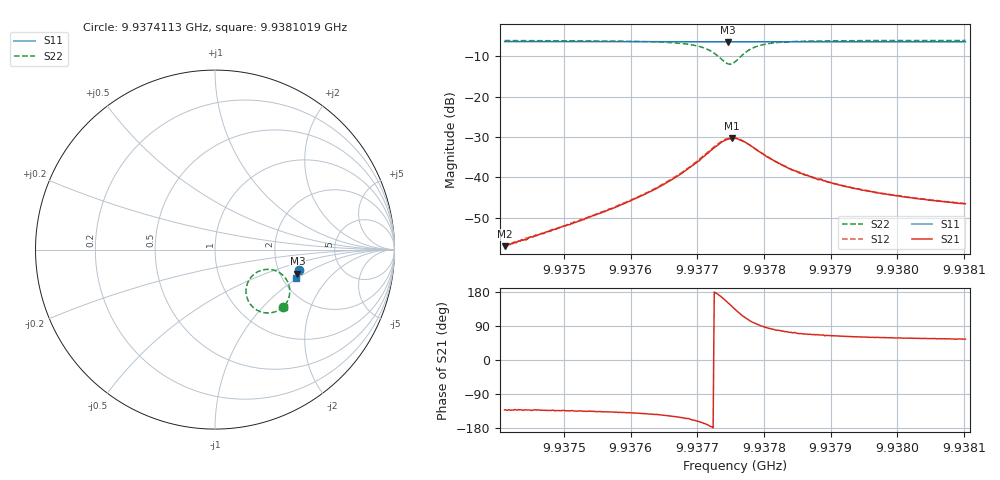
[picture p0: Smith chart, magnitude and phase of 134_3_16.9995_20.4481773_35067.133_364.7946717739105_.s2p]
#  HZ  S  RI  R  50.00
! Rohde & Schwarz Vector Network Analyzer
! Rohde-Schwarz,ZNB20-2Port,1311601062101988,3.16
! Created: UTC 3/20/2024, 10:58:05 PM
! freq[Hz]  re:S11  im:S11  re:S21  im:S21  re:S12  im:S12  re:S22  im:S22
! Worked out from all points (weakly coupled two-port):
!   401 points, 9.9374113 GHz to 9.9381019 GHz, reference 50 ohm
!   highest |S21| = -30.32 dB at 9.9377514 GHz (marker M1); lowest = -57.1 dB at 9.9374113 GHz (marker M2)
!   lowest |S11| = -6.4 dB at 9.9377462 GHz (marker M3), VSWR 2.83, Z = 124 - j43.3 ohm
!   |S11| at or under -10 dB: nowhere
!   |S22| runs from -11.9 to -6.0 dB; largest |S21 - S12| = 0.0015
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9.93741131e9  0.4695 -0.1137  -0.000928 -0.00104  -0.000947 -0.00105  0.381 -0.3189
9.93744238e9  0.4686 -0.1158  -0.00112 -0.00124  -0.00118 -0.00129  0.3776 -0.3219
9.93752698e9  0.4668 -0.1215  -0.00205 -0.00209  -0.00216 -0.00211  0.3651 -0.3314
9.93759949e9  0.4651 -0.1265  -0.00385 -0.0033  -0.00398 -0.0033  0.3457 -0.3422
9.93764265e9  0.464 -0.1296  -0.00617 -0.00439  -0.00637 -0.00436  0.3235 -0.3497
9.93767545e9  0.4628 -0.1319  -0.00969 -0.00524  -0.00999 -0.00517  0.2923 -0.3532
9.93770653e9  0.4612 -0.1338  -0.0166 -0.00455  -0.0171 -0.00415  0.2362 -0.3384
9.93772552e9  0.4598 -0.1348  -0.0232 0.000194  -0.0239 0.000975  0.1881 -0.291
9.93773761e9  0.4591 -0.1347  -0.0267 0.00737  -0.0269 0.00855  0.1728 -0.2274
9.93774624e9  0.4586 -0.1346  -0.0259 0.0144  -0.026 0.0157  0.1882 -0.1723
9.93775142e9  0.4588 -0.1343  -0.0242 0.0185  -0.0239 0.0199  0.211 -0.1432
9.9377566e9  0.4589 -0.1341  -0.021 0.0219  -0.0205 0.0231  0.2407 -0.1225
9.93776523e9  0.4595 -0.1342  -0.0147 0.0248  -0.0139 0.0258  0.2954 -0.1099
9.93777559e9  0.46 -0.1346  -0.00775 0.0248  -0.00687 0.0252  0.3496 -0.123
9.93779458e9  0.4606 -0.1362  -0.000126 0.0204  0.000371 0.0205  0.3997 -0.1699
9.93781357e9  0.4605 -0.138  0.00259 0.0162  0.00298 0.0161  0.4143 -0.2086
9.93783429e9  0.4603 -0.1396  0.00346 0.0128  0.00384 0.0128  0.4165 -0.2369
9.93787227e9  0.4595 -0.1425  0.00381 0.00914  0.00412 0.00934  0.4116 -0.267
9.93792061e9  0.4581 -0.146  0.00358 0.00684  0.00373 0.00685  0.404 -0.2871
9.93798794e9  0.4564 -0.1506  0.00316 0.00518  0.00327 0.00518  0.3948 -0.3032
9.93804319e9  0.455 -0.1541  0.00289 0.0044  0.003 0.00437  0.3889 -0.3117
9.93810189e9  0.4534 -0.1579  0.00267 0.00386  0.0028 0.00383  0.3835 -0.3187
